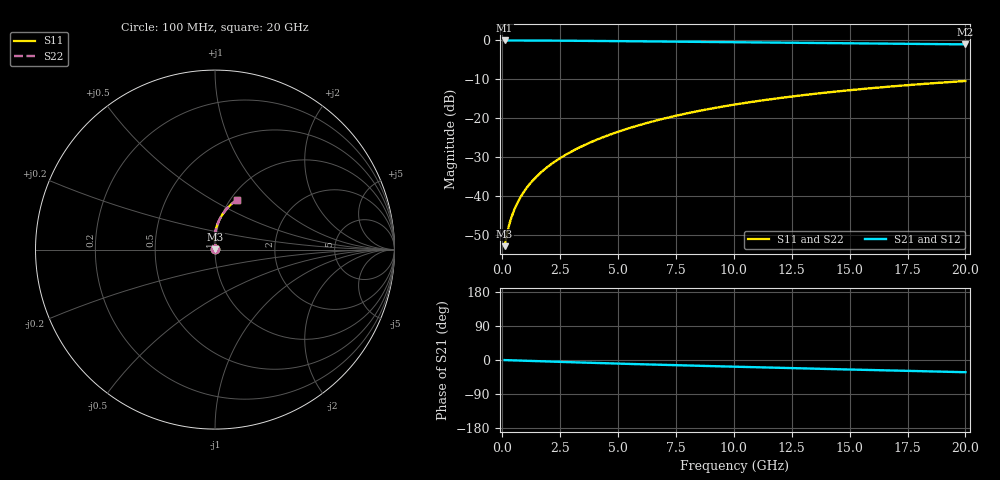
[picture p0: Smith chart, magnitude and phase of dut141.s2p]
! Touchstone file exported from HFSS 2024.1.0
!  File:  C:/UserFiles/LocalFiles/RDL_TSV_Batchsim/temp_RDL_bottom_141_1778696968.aedt
!  Generated:  02:31:56 AM May 14, 2026
!  Design:  RDL_bottom
!  Project:  temp_RDL_bottom_141_1778696968
!  Setup:  Setup1
!  Solution:  Sweep
! Variables:
!  dtsv = 10.80580581um
!  hbump = 3um
!  htsv = 51.04um
!  ldown = 445.34um
!  lrdl = 100um
!  p = 40
!  p1 = 57.2um
!  rhole = 1um
!  t = 450um
!  tdown = 3.54um
!  trdl = 3.915915916um
!  wdown = 28.25um
!  wrdl = 20um
# GHz S MA R 50.000000
! Terminal data exported
! Port[1] = RDL1_T1
! Port[2] = RDL1_T2
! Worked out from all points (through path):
!   200 points, 100 MHz to 20 GHz, reference 50 ohm
!   highest |S21| = -0.02 dB at 100 MHz (marker M1); lowest = -1.0 dB at 20 GHz (marker M2)
!   group delay of S21, straight-line fit = 4.4 ps
!   lowest |S11| = -52.9 dB at 100 MHz (marker M3), VSWR 1.00, Z = 50.2 + j0.135 ohm
!   |S11| at or under -10 dB: start of sweep to end of sweep
!   |S22| runs from -52.9 to -10.4 dB; largest |S21 - S12| = 2.5e-15
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0.1  0.002268 36.3  0.9982 -0.2  0.9982 -0.2  0.002268 36.3
! Gamma 0 0 0 0
! Port Impedance 50 0 50 0
0.2  0.003247 53.4  0.998 -0.4  0.998 -0.4  0.003247 53.4
0.3  0.004307 61.9  0.9978 -0.6  0.9978 -0.6  0.004307 61.9
0.4  0.00538 67.2  0.9977 -0.8  0.9977 -0.8  0.00538 67.2
0.5  0.006465 71.0  0.9975 -1.0  0.9975 -1.0  0.006466 71.0
0.6  0.007566 73.9  0.9974 -1.2  0.9974 -1.2  0.007566 73.9
0.8  0.009811 78.0  0.997 -1.6  0.997 -1.6  0.009812 78.0
1.1  0.01328 81.9  0.9964 -2.2  0.9964 -2.2  0.01328 81.9
1.3  0.01564 83.7  0.996 -2.6  0.996 -2.6  0.01564 83.7
1.6  0.01926 85.7  0.9951 -3.2  0.9951 -3.2  0.01926 85.6
2.1  0.02552 87.9  0.9934 -4.2  0.9934 -4.2  0.02551 87.9
2.7  0.03337 89.5  0.9909 -5.3  0.9909 -5.3  0.03337 89.5
3.5  0.04447 90.6  0.987 -6.8  0.987 -6.8  0.04446 90.6
4.2  0.05472 91.0  0.9831 -8.1  0.9831 -8.1  0.05471 90.9
5  0.06696 90.7  0.9784 -9.5  0.9784 -9.5  0.06695 90.7
5.9  0.08127 90.0  0.9729 -11.1  0.9729 -11.1  0.08124 90.0
6.8  0.09596 88.9  0.9673 -12.6  0.9673 -12.6  0.09593 88.9
8.4  0.1225 86.5  0.9574 -15.1  0.9574 -15.1  0.1225 86.5
10.1  0.1509 83.5  0.9472 -17.8  0.9472 -17.8  0.1508 83.5
13.4  0.2043 77.6  0.9279 -22.8  0.9279 -22.8  0.2042 77.6
16.7  0.2545 71.8  0.9088 -27.6  0.9088 -27.6  0.2544 71.8
20  0.3008 66.4  0.8894 -32.2  0.8894 -32.2  0.3007 66.4
